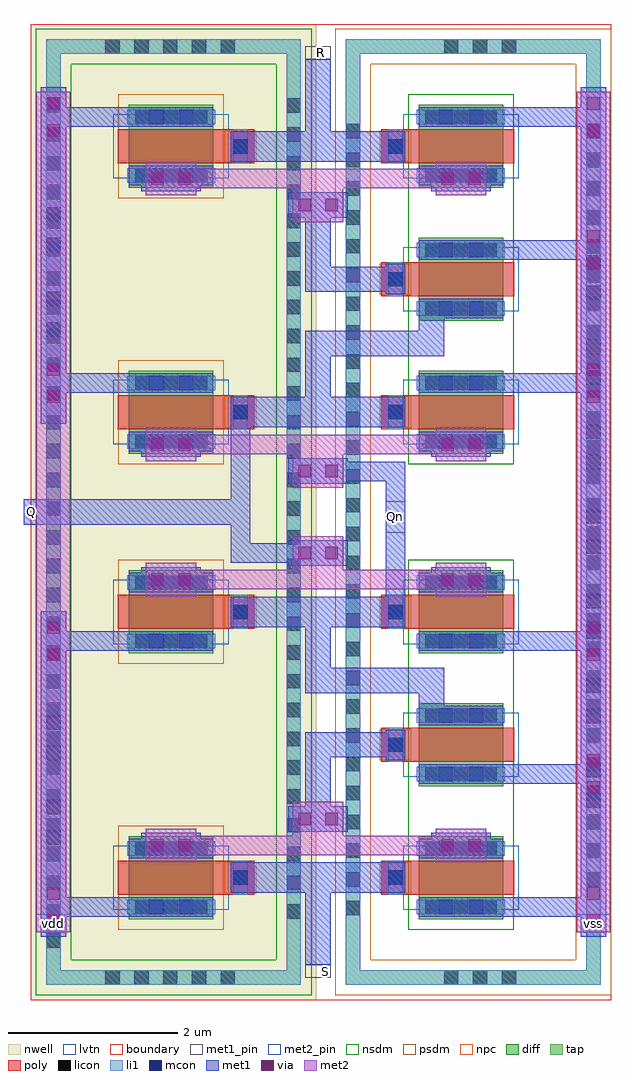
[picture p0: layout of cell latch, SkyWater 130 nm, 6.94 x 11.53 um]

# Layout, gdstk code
from math import pi, radians
import gdstk
lib = gdstk.Library(unit=1e-6, precision=1e-09)
def R(c, l, rs):  # rectangles x0, y0, x1, y1
    for r in rs: c.add(gdstk.rectangle(r[:2], r[2:], *l))
def A(c, l, x, y, w, h, nx, ny, dx, dy):  # array of equal rectangles
    R(c, l, [(x+i*dx, y+j*dy, x+i*dx+w, y+j*dy+h) for i in range(nx) for j in range(ny)])
nwell = (64, 20)
diff = (65, 20)
tap = (65, 44)
poly = (66, 20)
licon = (66, 44)
li1 = (67, 20)
mcon = (67, 44)
met1_pin = (68, 16)
met1 = (68, 20)
via = (68, 44)
met2_pin = (69, 16)
met2 = (69, 20)
nsdm = (93, 44)
psdm = (94, 20)
npc = (95, 20)
lvtn = (125, 44)
boundary = (235, 4)

latinv__m1 = lib.new_cell('latinv__M1')
R(latinv__m1, diff, [(-0.145,-0.49,0.855,0.49)])
R(latinv__m1, poly, [(-0.585,-0.2,0.985,0.2)])
A(latinv__m1, licon, -0.07, -0.43, 0.17, 0.17, 3, 2, 0.34, 0.69)
R(latinv__m1, licon, [(-0.505,-0.085,-0.335,0.085)])
R(latinv__m1, li1, [(-0.165,-0.43,0.875,-0.26), (-0.505,-0.2,-0.335,0.2), (-0.165,0.26,0.875,0.43)])
R(latinv__m1, mcon, [(0.09,-0.43,0.26,-0.26), (0.45,-0.43,0.62,-0.26), (-0.505,-0.085,-0.335,0.085), (0.09,0.26,0.26,0.43), (0.45,0.26,0.62,0.43)])
R(latinv__m1, met1, [(-0.145,-0.46,0.855,-0.23), (-0.535,-0.18,-0.305,0.18), (-0.145,0.23,0.855,0.46)])
R(latinv__m1, nsdm, [(-0.27,-0.615,0.98,0.615)])
R(latinv__m1, npc, [(-0.605,-0.185,-0.235,0.185)])
R(latinv__m1, lvtn, [(-0.325,-0.38,1.035,0.38)])

latinv__m2 = lib.new_cell('latinv__M2')
R(latinv__m2, nwell, [(-1.22,-1.18,1.62,1.18)])
R(latinv__m2, diff, [(-0.48,-0.49,0.52,0.49)])
R(latinv__m2, poly, [(-0.61,-0.2,1.005,0.2)])
A(latinv__m2, licon, -0.405, -0.43, 0.17, 0.17, 3, 2, 0.34, 0.69)
R(latinv__m2, licon, [(0.755,-0.085,0.925,0.085)])
R(latinv__m2, li1, [(-0.5,-0.43,0.54,-0.26), (0.755,-0.2,0.925,0.2), (-0.5,0.26,0.54,0.43)])
R(latinv__m2, mcon, [(-0.245,-0.43,-0.075,-0.26), (0.115,-0.43,0.285,-0.26), (0.755,-0.085,0.925,0.085), (-0.245,0.26,-0.075,0.43), (0.115,0.26,0.285,0.43)])
R(latinv__m2, met1, [(-0.48,-0.46,0.52,-0.23), (0.725,-0.18,0.955,0.18), (-0.48,0.23,0.52,0.46)])
R(latinv__m2, psdm, [(-0.605,-0.615,0.645,0.615)])
R(latinv__m2, npc, [(0.655,-0.185,1.025,0.185)])
R(latinv__m2, lvtn, [(-0.66,-0.38,0.7,0.38)])

via_m1_m2_7 = lib.new_cell('via_M1_M2$7')
R(via_m1_m2_7, met1, [(-0.35,0,-0.05,0.7)])
R(via_m1_m2_7, via, [(-0.275,0.115,-0.125,0.265), (-0.275,0.435,-0.125,0.585)])
R(via_m1_m2_7, met2, [(-0.4,0.05,0,0.65)])

lat__inv_lvt = lib.new_cell('lat__inv_lvt')
R(lat__inv_lvt, met1, [(-2.825,0.85,-2.525,1), (-3.705,1,-1.645,1.36)])
lat__inv_lvt.add(gdstk.FlexPath([(-3.995,1.56),(-1.4,1.56)], 0.23, ends="extended", simple_path=True, layer=69, datatype=20))  # met2
lat__inv_lvt.add(gdstk.Reference(latinv__m1, (-1.34,1.18)))
lat__inv_lvt.add(gdstk.Reference(latinv__m2, (-4.43,1.18)))
lat__inv_lvt.add(gdstk.Reference(via_m1_m2_7, (-4.76,1.36), rotation=3*pi/2))
lat__inv_lvt.add(gdstk.Reference(via_m1_m2_7, (-2.325,2.075), rotation=pi/2))
lat__inv_lvt.add(gdstk.Reference(via_m1_m2_7, (-1.335,1.36), rotation=3*pi/2))

lat__m1 = lib.new_cell('lat__M1')
R(lat__m1, diff, [(-0.455,-0.49,0.545,0.49)])
R(lat__m1, poly, [(-0.585,-0.2,0.985,0.2)])
A(lat__m1, licon, -0.38, -0.43, 0.17, 0.17, 3, 2, 0.34, 0.69)
R(lat__m1, licon, [(0.735,-0.085,0.905,0.085)])
R(lat__m1, li1, [(-0.475,-0.43,0.565,-0.26), (0.735,-0.2,0.905,0.2), (-0.475,0.26,0.565,0.43)])
R(lat__m1, mcon, [(-0.22,-0.43,-0.05,-0.26), (0.14,-0.43,0.31,-0.26), (0.735,-0.085,0.905,0.085), (-0.22,0.26,-0.05,0.43), (0.14,0.26,0.31,0.43)])
R(lat__m1, met1, [(-0.455,-0.46,0.545,-0.23), (0.705,-0.18,0.935,0.18), (-0.455,0.23,0.545,0.46)])
R(lat__m1, nsdm, [(-0.58,-0.615,0.67,0.615)])
R(lat__m1, npc, [(0.635,-0.185,1.005,0.185)])
R(lat__m1, lvtn, [(-0.635,-0.38,0.725,0.38)])

lat__m2 = lib.new_cell('lat__M2')
R(lat__m2, diff, [(-0.455,-0.49,0.545,0.49)])
R(lat__m2, poly, [(-0.585,-0.2,0.985,0.2)])
A(lat__m2, licon, -0.38, -0.43, 0.17, 0.17, 3, 2, 0.34, 0.69)
R(lat__m2, licon, [(0.735,-0.085,0.905,0.085)])
R(lat__m2, li1, [(-0.475,-0.43,0.565,-0.26), (0.735,-0.2,0.905,0.2), (-0.475,0.26,0.565,0.43)])
R(lat__m2, mcon, [(-0.22,-0.43,-0.05,-0.26), (0.14,-0.43,0.31,-0.26), (0.735,-0.085,0.905,0.085), (-0.22,0.26,-0.05,0.43), (0.14,0.26,0.31,0.43)])
R(lat__m2, met1, [(-0.455,-0.46,0.545,-0.23), (0.705,-0.18,0.935,0.18), (-0.455,0.23,0.545,0.46)])
R(lat__m2, nsdm, [(-0.58,-0.615,0.67,0.615)])
R(lat__m2, npc, [(0.635,-0.185,1.005,0.185)])
R(lat__m2, lvtn, [(-0.635,-0.38,0.725,0.38)])

lat__guardring_p = lib.new_cell('lat__Guardring_P')
A(lat__guardring_p, licon, -5.035, -3.225, 0.17, 0.17, 5, 2, 0.34, 11)
A(lat__guardring_p, licon, -5.735, -2.785, 0.17, 0.17, 1, 30, 0, 0.34)
A(lat__guardring_p, licon, -2.895, -2.445, 0.17, 0.17, 1, 29, 0, 0.34)
lat__guardring_p.add(gdstk.FlexPath([(-5.65,-3.225),(-5.65,7.86),(-2.81,7.86),(-2.81,-3.14),(-5.65,-3.14)], 0.17, ends="flush", simple_path=True, layer=67, datatype=20))  # li1
lat__guardring_p.add(gdstk.FlexPath([(-5.65,-3.35),(-5.65,7.86),(-2.81,7.86),(-2.81,-3.14),(-5.65,-3.14)], 0.42, ends="flush", simple_path=True, layer=93, datatype=44))  # nsdm
lat__guardring_p.add(gdstk.FlexPath([(-5.65,-3.225),(-5.65,7.86),(-2.81,7.86),(-2.81,-3.14),(-5.65,-3.14)], 0.17, ends="flush", simple_path=True, layer=65, datatype=44))  # tap
lat__guardring_p.add(gdstk.FlexPath([(-5.65,-3.405),(-5.65,7.86),(-2.81,7.86),(-2.81,-3.14),(-5.65,-3.14)], 0.53, ends="flush", simple_path=True, layer=64, datatype=20))  # nwell

lat__guardring_n = lib.new_cell('lat__Guardring_N')
A(lat__guardring_n, licon, 2.685, -3.225, 0.17, 0.17, 3, 2, 0.34, 11)
A(lat__guardring_n, licon, 1.525, -2.405, 0.17, 0.17, 1, 28, 0, 0.34)
A(lat__guardring_n, licon, 4.365, -2.065, 0.17, 0.17, 1, 27, 0, 0.34)
lat__guardring_n.add(gdstk.FlexPath([(1.61,-3.225),(1.61,7.86),(4.45,7.86),(4.45,-3.14),(1.61,-3.14)], 0.17, ends="flush", simple_path=True, layer=67, datatype=20))  # li1
lat__guardring_n.add(gdstk.FlexPath([(1.61,-3.35),(1.61,7.86),(4.45,7.86),(4.45,-3.14),(1.61,-3.14)], 0.42, ends="flush", simple_path=True, layer=94, datatype=20))  # psdm
lat__guardring_n.add(gdstk.FlexPath([(1.61,-3.225),(1.61,7.86),(4.45,7.86),(4.45,-3.14),(1.61,-3.14)], 0.17, ends="flush", simple_path=True, layer=65, datatype=44))  # tap

via_li_m1_2 = lib.new_cell('via_LI_M1$2')
R(via_li_m1_2, li1, [(-0.2,0.03,-0.03,0.56)])
R(via_li_m1_2, mcon, [(-0.2,0.03,-0.03,0.2), (-0.2,0.39,-0.03,0.56)])
R(via_li_m1_2, met1, [(-0.23,0,0,0.59)])

latch = lib.new_cell('latch')
R(latch, nwell, [(-6.59,0.265,-3.4,11.265)])
R(latch, met1_pin, [(-3.415,0.265,-3.115,0.415), (-2.465,5.52,-2.235,5.89), (-6.74,5.615,-6.59,5.915), (-3.415,11.115,-3.115,11.265)])
A(latch, met1, -1.075, 0.985, 0.915, 0.23, 1, 3, 0, 1.57)
A(latch, met1, -1.075, 7.175, 0.915, 0.23, 1, 3, 0, 1.57)
R(latch, met1, [(-3.415,0.415,-3.115,1.115), (-6.24,0.985,-5.5,1.215), (-6.24,4.125,-5.5,4.355), (-6.24,7.175,-5.5,7.405), (-6.24,10.315,-5.5,10.545), (-3.415,10.415,-3.115,11.115)])
R(latch, met2_pin, [(-6.59,0.8,-6.19,1.015), (-0.21,0.8,0.19,1.015)])
R(latch, nsdm, [(-2.2,0.83,-0.95,5.2), (-2.2,6.33,-0.95,10.7)])
R(latch, boundary, [(-6.655,0,0.2,11.53), (-6.585,0.265,0.19,11.265)])
latch.add(gdstk.FlexPath([(-6.39,6.955),(-6.39,10.63)], 0.3, ends="extended", simple_path=True, layer=68, datatype=20))  # met1
latch.add(gdstk.FlexPath([(-6.39,0.9),(-6.39,4.44)], 0.3, ends="extended", simple_path=True, layer=68, datatype=20))  # met1
latch.add(gdstk.FlexPath([(-0.01,0.9),(-0.01,10.63)], 0.3, ends="extended", simple_path=True, layer=68, datatype=20))  # met1
latch.add(gdstk.FlexPath([(-3.615,5.28),(-4.18,5.28),(-4.18,7.005)], 0.23, ends="extended", simple_path=True, layer=68, datatype=20))  # met1
latch.add(gdstk.FlexPath([(-2.915,6.245),(-2.35,6.245),(-2.35,4.52)], 0.23, ends="extended", simple_path=True, layer=68, datatype=20))  # met1
latch.add(gdstk.FlexPath([(-1.925,8.135),(-1.925,7.755),(-3.265,7.755),(-3.265,7.275)], 0.3, ends="extended", simple_path=True, layer=68, datatype=20))  # met1
latch.add(gdstk.FlexPath([(-1.925,3.395),(-1.925,3.775),(-3.265,3.775),(-3.265,4.255)], 0.3, ends="extended", simple_path=True, layer=68, datatype=20))  # met1
latch.add(gdstk.FlexPath([(-2.615,8.515),(-3.265,8.515),(-3.265,9.09)], 0.3, ends="extended", simple_path=True, layer=68, datatype=20))  # met1
latch.add(gdstk.FlexPath([(-2.615,3.015),(-3.265,3.015),(-3.265,2.44)], 0.3, ends="extended", simple_path=True, layer=68, datatype=20))  # met1
latch.add(gdstk.FlexPath([(-4.215,5.765),(-6.59,5.765)], 0.3, ends="extended", simple_path=True, layer=68, datatype=20))  # met1
latch.add(gdstk.FlexPath([(-6.39,10.53),(-6.39,1)], 0.4, ends="extended", simple_path=True, layer=69, datatype=20))  # met2
latch.add(gdstk.FlexPath([(-0.01,10.53),(-0.01,1)], 0.4, ends="extended", simple_path=True, layer=69, datatype=20))  # met2
latch.add(gdstk.Reference(lat__inv_lvt, (-0.59,8.125), x_reflection=True))
latch.add(gdstk.Reference(lat__inv_lvt, (-0.59,3.405)))
latch.add(gdstk.Reference(lat__m1, (-1.53,3.015), rotation=pi))
latch.add(gdstk.Reference(lat__inv_lvt, (-0.59,0.265)))
latch.add(gdstk.Reference(lat__m2, (-1.53,8.515), rotation=pi))
latch.add(gdstk.Reference(lat__inv_lvt, (-0.59,11.265), x_reflection=True))
latch.add(gdstk.Reference(via_m1_m2_7, (-6.19,1.45), x_reflection=True))
latch.add(gdstk.Reference(via_m1_m2_7, (-6.19,7.64), x_reflection=True))
latch.add(gdstk.Reference(via_m1_m2_7, (-6.19,10.78), x_reflection=True))
latch.add(gdstk.Reference(via_m1_m2_7, (-6.19,4.59), x_reflection=True))
latch.add(gdstk.Reference(lat__guardring_p, (-0.74,3.405)))
latch.add(gdstk.Reference(lat__guardring_n, (-4.46,3.405)))
latch.add(gdstk.Reference(via_m1_m2_7, (-0.21,7.64), rotation=pi))
latch.add(gdstk.Reference(via_m1_m2_7, (-0.21,4.59), rotation=pi))
latch.add(gdstk.Reference(via_m1_m2_7, (-0.21,3.02), rotation=pi))
latch.add(gdstk.Reference(via_m1_m2_7, (-0.21,1.45), rotation=pi))
latch.add(gdstk.Reference(via_m1_m2_7, (-0.21,9.21), rotation=pi))
latch.add(gdstk.Reference(via_m1_m2_7, (-0.21,10.78), rotation=pi))
latch.add(gdstk.Reference(via_li_m1_2, (-0.125,2.83), rotation=pi))
latch.add(gdstk.Reference(via_li_m1_2, (-0.125,3.83), rotation=pi))
latch.add(gdstk.Reference(via_li_m1_2, (-0.125,4.83), rotation=pi))
latch.add(gdstk.Reference(via_li_m1_2, (-0.125,5.83), rotation=pi))
latch.add(gdstk.Reference(via_li_m1_2, (-0.125,6.83), rotation=pi))
latch.add(gdstk.Reference(via_li_m1_2, (-0.125,7.83), rotation=pi))
latch.add(gdstk.Reference(via_li_m1_2, (-0.125,8.83), rotation=pi))
latch.add(gdstk.Reference(via_li_m1_2, (-6.505,2.395), rotation=pi))
latch.add(gdstk.Reference(via_li_m1_2, (-6.505,3.395), rotation=pi))
latch.add(gdstk.Reference(via_li_m1_2, (-6.505,8.395), rotation=pi))
latch.add(gdstk.Reference(via_li_m1_2, (-6.505,9.395), rotation=pi))
latch.add(gdstk.Label('vdd', (-6.385,0.9), layer=69, texttype=16))
latch.add(gdstk.Label('vss', (-0.005,0.9), layer=69, texttype=16))
latch.add(gdstk.Label('Qn', (-2.35,5.715), layer=68, texttype=16))
latch.add(gdstk.Label('S', (-3.175,0.34), layer=68, texttype=16))
latch.add(gdstk.Label('R', (-3.23,11.19), layer=68, texttype=16))
latch.add(gdstk.Label('Q', (-6.65,5.77), layer=68, texttype=16))

lib.write_gds('latch.gds')
